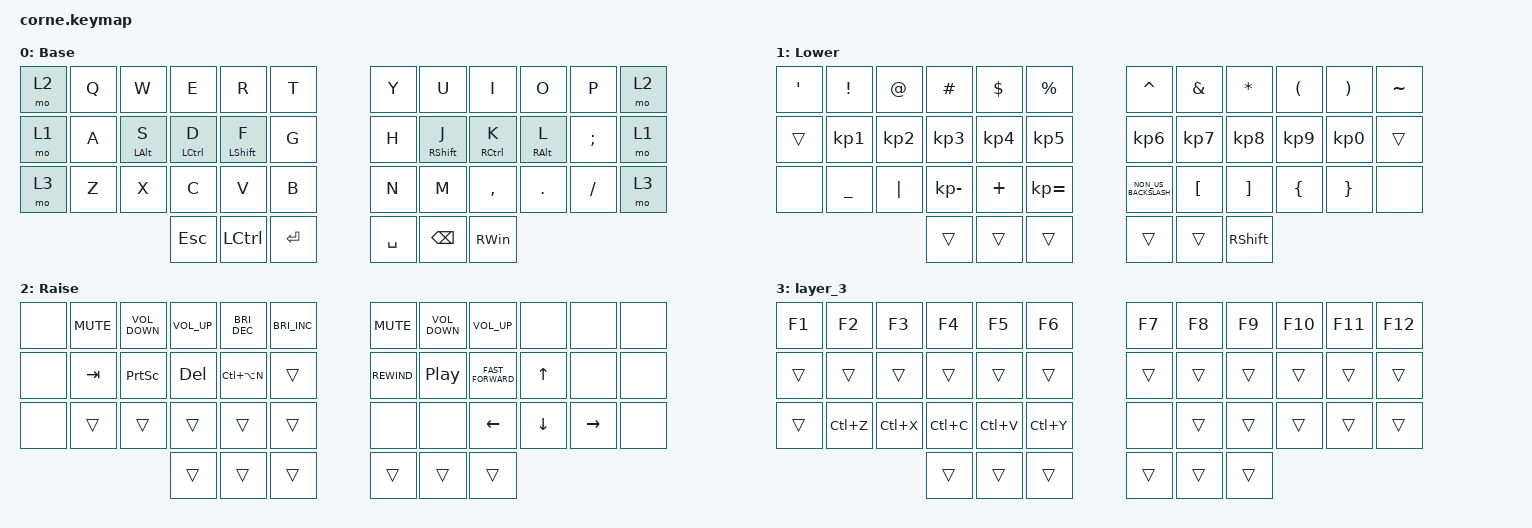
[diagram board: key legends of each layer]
/*
 * Copyright (c) 2020 The ZMK Contributors
 *
 * SPDX-License-Identifier: MIT
 */

#include <behaviors.dtsi>
#include <dt-bindings/zmk/keys.h>

/ {
    behaviors {
        hmr: homewrow_mods_right {
            compatible = "zmk,behavior-hold-tap";
            label = "HOMEROW_MODS_RIGHT_HAND";
            bindings = <&kp>, <&kp>;

            #binding-cells = <2>;
            tapping-term-ms = <200>;
            hold-trigger-key-positions = <38 0 1 2 3 4 5 12 13 14 15 16 17 24 25 26 27 28 29 36 37 38>;
        };

        hml: homewrow_mods_left {
            compatible = "zmk,behavior-hold-tap";
            label = "HOMEROW_MODS_LEFT_HAND";
            bindings = <&kp>, <&kp>;

            #binding-cells = <2>;
            tapping-term-ms = <200>;
            hold-trigger-key-positions = <6 7 8 9 10 11 18 19 20 21 22 23 30 31 32 33 34 35 39 40 41>;
        };
    };

    keymap {
        compatible = "zmk,keymap";

        default_layer {
            // -----------------------------------------------------------------------------------------
            // |  TAB |  Q  |  W  |  E  |  R  |  T  |   |  Y  |  U   |  I  |  O  |  P  | BKSP |
            // | CTRL |  A  |  S  |  D  |  F  |  G  |   |  H  |  J   |  K  |  L  |  ;  |  '   |
            // | SHFT |  Z  |  X  |  C  |  V  |  B  |   |  N  |  M   |  ,  |  .  |  /  | ESC  |
            //                    | GUI | LWR | SPC |   | ENT | RSE  | ALT |

            display-name = "Base";
            bindings = <
&mo 2  &kp Q  &kp W            &kp E                &kp R              &kp T        &kp Y      &kp U               &kp I                 &kp O             &kp P     &mo 2
&mo 1  &kp A  &hml LEFT_ALT S  &hml LEFT_CONTROL D  &hml LEFT_SHIFT F  &kp G        &kp H      &hml RIGHT_SHIFT J  &hml RIGHT_CONTROL K  &hml RIGHT_ALT L  &kp SEMI  &mo 1
&mo 3  &kp Z  &kp X            &kp C                &kp V              &kp B        &kp N      &kp M               &kp COMMA             &kp DOT           &kp FSLH  &mo 3
                               &kp ESCAPE           &kp LEFT_CONTROL   &kp ENTER    &kp SPACE  &kp BACKSPACE       &kp RWIN
            >;
        };

        lower_layer {
            // -----------------------------------------------------------------------------------------
            // |  TAB |  1  |  2  |  3  |  4  |  5  |   |  6  |  7  |  8  |  9  |  0  | BKSP |
            // | BTCLR| BT1 | BT2 | BT3 | BT4 | BT5 |   | LFT | DWN |  UP | RGT |     |      |
            // | SHFT |     |     |     |     |     |   |     |     |     |     |     |      |
            //                    | GUI |     | SPC |   | ENT |     | ALT |

            display-name = "Lower";
            bindings = <
&kp APOS  &kp EXCL         &kp AT           &kp HASH         &kp DOLLAR       &kp PERCENT        &kp CARET             &kp AMPS          &kp ASTRK          &kp LEFT_PARENTHESIS  &kp RIGHT_PARENTHESIS  &kp TILDE
&trans    &kp KP_NUMBER_1  &kp KP_NUMBER_2  &kp KP_NUMBER_3  &kp KP_NUMBER_4  &kp KP_NUMBER_5    &kp KP_NUMBER_6       &kp KP_NUMBER_7   &kp KP_NUMBER_8    &kp KP_NUMBER_9       &kp KP_NUMBER_0        &trans
&none     &kp UNDER        &kp PIPE         &kp KP_SUBTRACT  &kp PLUS         &kp KP_EQUAL       &kp NON_US_BACKSLASH  &kp LEFT_BRACKET  &kp RIGHT_BRACKET  &kp LEFT_BRACE        &kp RIGHT_BRACE        &none
                                            &trans           &trans           &trans             &trans                &trans            &kp RIGHT_SHIFT
            >;
        };

        raise_layer {
            // -----------------------------------------------------------------------------------------
            // |  TAB |  !  |  @  |  #  |  $  |  %  |   |  ^  |  &  |  *  |  (  |  )  | BKSP |
            // | CTRL |     |     |     |     |     |   |  -  |  =  |  [  |  ]  |  \  |  `   |
            // | SHFT |     |     |     |     |     |   |  _  |  +  |  {  |  }  | "|" |  ~   |
            //                    | GUI |     | SPC |   | ENT |     | ALT |

            display-name = "Raise";
            bindings = <
&none  &kp K_MUTE  &kp C_VOLUME_DOWN  &kp C_VOLUME_UP  &kp C_BRIGHTNESS_DEC  &kp C_BRIGHTNESS_INC    &kp K_MUTE    &kp C_VOLUME_DOWN  &kp C_VOLUME_UP     &none         &none      &none
&none  &kp TAB     &kp PRINTSCREEN    &kp DELETE       &kp LC(LA(N))         &trans                  &kp C_REWIND  &kp C_PLAY_PAUSE   &kp C_FAST_FORWARD  &kp UP_ARROW  &none      &none
&none  &trans      &trans             &trans           &trans                &trans                  &none         &none              &kp LEFT_ARROW      &kp DOWN      &kp RIGHT  &none
                                      &trans           &trans                &trans                  &trans        &trans             &trans
            >;
        };

        layer_3 {
            bindings = <
&kp F1  &kp F2     &kp F3     &kp F4     &kp F5     &kp F6       &kp F7  &kp F8  &kp F9  &kp F10  &kp F11  &kp F12
&trans  &trans     &trans     &trans     &trans     &trans       &trans  &trans  &trans  &trans   &trans   &trans
&trans  &kp LC(Z)  &kp LC(X)  &kp LC(C)  &kp LC(V)  &kp LC(Y)    &none   &trans  &trans  &trans   &trans   &trans
                              &trans     &trans     &trans       &trans  &trans  &trans
            >;
        };
    };
};
